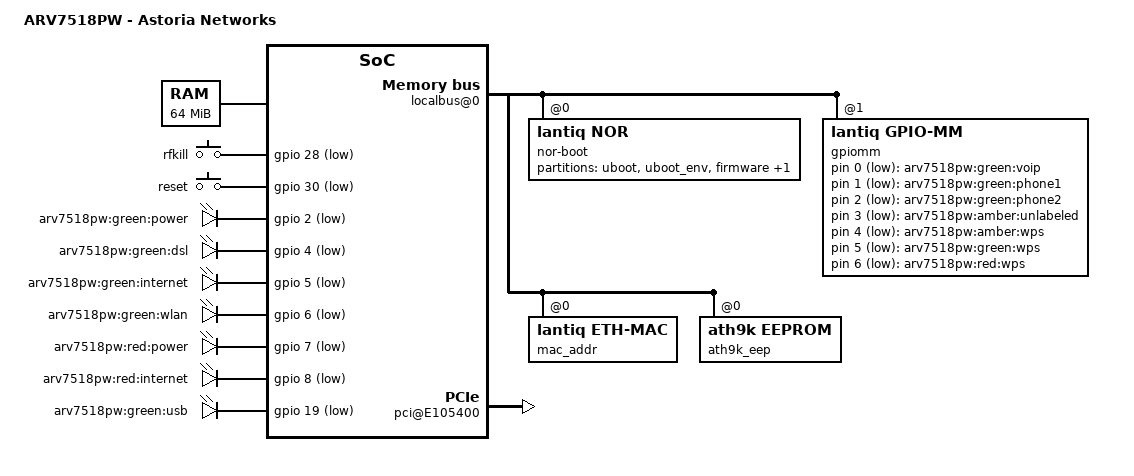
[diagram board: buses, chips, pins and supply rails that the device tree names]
/dts-v1/;

/include/ "danube.dtsi"

/ {
	model = "ARV7518PW - Astoria Networks";

	chosen {
		bootargs = "console=ttyLTQ0,115200 init=/etc/preinit";

		leds {
			boot = &power_green;
			failsafe = &power_red;
			running = &power_green;

			dsl = &dsl;
			internet = &online_green;
			usb = &usb;
			wifi = &wifi;
		};
	};

	memory@0 {
		reg = <0x0 0x4000000>;
	};

	sram@1F000000 {
		vmmc@107000 {
			status = "okay";
		};
	};

	fpi@10000000 {
		localbus@0 {
			nor-boot@0 {
				compatible = "lantiq,nor";
				bank-width = <2>;
				reg = <0 0x0 0x2000000>;
				#address-cells = <1>;
				#size-cells = <1>;

				partition@0 {
					label = "uboot";
					reg = <0x00000 0x10000>;
					read-only;
				};

				partition@10000 {
					label = "uboot_env";
					reg = <0x10000 0x10000>;
				};

				partition@20000 {
					label = "firmware";
					reg = <0x20000 0x7d0000>;
				};

				partition@400000 {
					label = "boardconfig";
					reg = <0x7f0000 0x10000>;
					read-only;
				};
			};

			gpiomm: gpiomm@4000000 {
				compatible = "lantiq,gpio-mm";
				reg = <1 0x0 0x10 >;
				#address-cells = <1>;
				#size-cells = <1>;
				#gpio-cells = <2>;
				gpio-controller;
				lantiq,shadow = <0x0>;
			};

			mac_addr {
				compatible = "lantiq,eth-mac";
				reg = <0 0x7f0016 0x6>;
				mac-increment = <2>;
			};

			ath9k_eep {
				compatible = "ath9k,eeprom";
				reg = <0 0x7f0400 0x1000
					0 0x7f0016 0x6>;
				ath,mac-increment = <1>;
				ath,pci-slot = <14>;
				ath,eep-endian;
			};
		};

		gpio: pinmux@E100B10 {
			pinctrl-names = "default";
			pinctrl-0 = <&state_default>;

			state_default: pinmux {
				ebu {
					lantiq,groups = "ebu cs1";
					lantiq,function = "ebu";
				};
				pci_in {
					lantiq,groups = "req1";
					lantiq,function = "pci";
					lantiq,open-drain = <1>;
					lantiq,pull = <2>;
					lantiq,output = <0>;
				};
				pci_out {
					lantiq,groups = "gnt1";
					lantiq,function = "pci";
					lantiq,pull = <0>;
					lantiq,output = <1>;
				};
				pci_rst {
					lantiq,pins = "io21";
					lantiq,pull = <2>;
					lantiq,output = <1>;
				};
				leds {
					lantiq,pins = "io2", "io4", "io5", "io6", "io7", "io8", "io19";
					lantiq,output = <1>;
				};
				keys {
					lantiq,pins = "io28", "io30";
					lantiq,output = <0>;
					lantiq,pull = <2>;
					lantiq,open-drain = <1>;
				};
			};
		};

		etop@E180000 {
			phy-mode = "mii";
		};

		ifxhcd@E101000 {
			status = "okay";
			gpios = <&gpio 14 0>;
		};

		pci@E105400 {
			status = "okay";
			lantiq,external-clock;
			gpio-reset = <&gpio 21 0>;
			req-mask = <0xf>;
		};

	};

/*
#define SWITCH_RESET          13
*/
	gpio-keys-polled {
		compatible = "gpio-keys-polled";
		#address-cells = <1>;
		#size-cells = <0>;
		poll-interval = <100>;

		rfkill {
			label = "rfkill";
			gpios = <&gpio 28 1>;
			linux,code = <0xf7>;
		};
		reset {
			label = "reset";
			gpios = <&gpio 30 1>;
			linux,code = <0x198>;
		};
	};

	gpio-leds {
		compatible = "gpio-leds";
		power_green: power {
			label = "arv7518pw:green:power";
			gpios = <&gpio 2 1>;
			default-state = "keep";
		};
		dsl: dsl {
			label = "arv7518pw:green:dsl";
			gpios = <&gpio 4 1>;
		};
		online_green: online {
			label = "arv7518pw:green:internet";
			gpios = <&gpio 5 1>;
		};
		wifi: wifi {
			label = "arv7518pw:green:wlan";
			gpios = <&gpio 6 1>;
		};
		power_red: power2 {
			label = "arv7518pw:red:power";
			gpios = <&gpio 7 1>;
		};
		online2 {
			label = "arv7518pw:red:internet";
			gpios = <&gpio 8 1>;
		};
		usb: usb {
			label = "arv7518pw:green:usb";
			gpios = <&gpio 19 1>;
		};
		voice {
			label = "arv7518pw:green:voip";
			gpios = <&gpiomm 0 1>;
		};
		fxs1 {
			label = "arv7518pw:green:phone1";
			gpios = <&gpiomm 1 1>;
		};
		fxs2 {
			label = "arv7518pw:green:phone2";
			gpios = <&gpiomm 2 1>;
		};
		unlabeled {
			label = "arv7518pw:amber:unlabeled";
			gpios = <&gpiomm 3 1>;
		};
		wps {
			label = "arv7518pw:amber:wps";
			gpios = <&gpiomm 4 1>;
		};
		wps2 {
			label = "arv7518pw:green:wps";
			gpios = <&gpiomm 5 1>;
		};
		wps3 {
			label = "arv7518pw:red:wps";
			gpios = <&gpiomm 6 1>;
		};
	};
};
